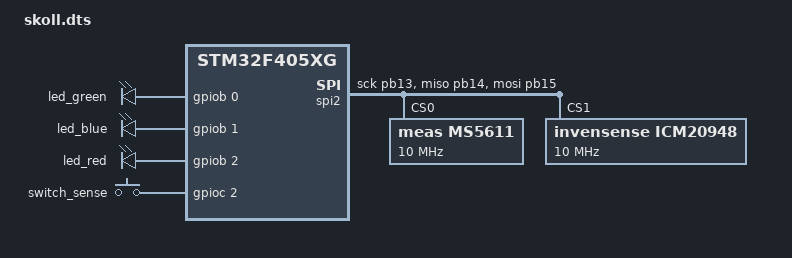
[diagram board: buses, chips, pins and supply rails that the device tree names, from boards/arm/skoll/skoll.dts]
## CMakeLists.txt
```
# SPDX-License-Identifier: Apache-2.0

cmake_minimum_required(VERSION 3.20.0)

set(BOARD_ROOT ${CMAKE_CURRENT_LIST_DIR})
set(BOARD skoll)

list(APPEND EXTRA_ZEPHYR_MODULES
    ${CMAKE_CURRENT_SOURCE_DIR}/ext/modules/ms5611
)

find_package(Zephyr REQUIRED HINTS $ENV{ZEPHYR_BASE})

project(skoll LANGUAGES C)

zephyr_include_directories(
  ${CMAKE_CURRENT_SOURCE_DIR}/src
)

target_sources(app PRIVATE 
    src/main.c
)
```

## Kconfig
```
# CONFIG_[APP_[APP_NAME]_LOG_LEVEL_INF=y
```

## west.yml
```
manifest:
  remotes:
    - name: zephyrproject
      url-base: https://github.com/zephyrproject-rtos

  projects:
    - name: zephyr
      remote: zephyrproject
      revision: v4.2.0
      path: ext/zephyr
      west-commands: scripts/west-commands.yml

    - name: cmsis
      remote: zephyrproject
      revision: 512cc7e895e8491696b61f7ba8066b4a182569b8
      path: ext/zephyr/modules/hal/cmsis
    - name: cmsis_6
      remote: zephyrproject
      repo-path: CMSIS_6
      revision: 06d952b6713a2ca41c9224a62075e4059402a151
      path: ext/zephyr/modules/hal/cmsis_6

    - name: hal_stm32
      remote: zephyrproject
      revision: 1e753266ddfb4b07a8a0b1ec566e9637ea45d5ef
      path: ext/zephyr/modules/hal/stm32

    - name: zscilib
      remote: zephyrproject
      revision: ee3c0c405087e331aad16d167b6e4ec1c3452ba9
      path: ext/modules/zscilib

  self:
    path: .
    
```

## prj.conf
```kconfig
CONFIG_GPIO=y
CONFIG_LOG=y
CONFIG_LOG_MODE_DEFERRED=y
CONFIG_LOG_BUFFER_SIZE=4096

CONFIG_DEBUG=y
CONFIG_DEBUG_OPTIMIZATIONS=y

CONFIG_ISR_STACK_SIZE=4096

CONFIG_CAN=y
CONFIG_SPI=y
CONFIG_SENSOR=y
CONFIG_SHELL=y
CONFIG_SERIAL=y
CONFIG_CONSOLE=y
CONFIG_UART_CONSOLE=n

CONFIG_SYS_CLOCK_HW_CYCLES_PER_SEC=16000000

CONFIG_ZBUS=y
CONFIG_ZBUS_MSG_SUBSCRIBER=y

# I do not like heaps but idk
CONFIG_ZBUS_MSG_SUBSCRIBER_BUF_ALLOC_STATIC=y
CONFIG_ZBUS_MSG_SUBSCRIBER_NET_BUF_POOL_SIZE=32
CONFIG_ZBUS_MSG_SUBSCRIBER_NET_BUF_STATIC_DATA_SIZE=128

CONFIG_CRC=y

CONFIG_CPP=y

CONFIG_REQUIRES_FULL_LIBCPP=y

# Enable USB CDC console
CONFIG_USB_DEVICE_STACK=y
CONFIG_USB_DEVICE_PRODUCT="freyja gcs"
CONFIG_USB_DEVICE_VID=0x6969
CONFIG_USB_DEVICE_PID=0x6969
CONFIG_USB_CDC_ACM=y
CONFIG_USB_DEVICE_INITIALIZE_AT_BOOT=y
CONFIG_USB_CDC_ACM_LOG_LEVEL_DBG=y
```

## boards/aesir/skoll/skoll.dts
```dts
/dts-v1/;

#include <st/f4/stm32f405Xg.dtsi>
#include <st/f4/stm32f405rgtx-pinctrl.dtsi>
#include "skoll.dtsi"
/*
things that we need to define:
PWM: buzzer, servo1, servo2, servo3, servo4 X
boot switch X
gpio: ledG, ledB, ledR, switch X
Oscillator (only Kconfig) X
SPI: MS5611, ICM20948 - add spi settings and icm20948 driver
battery sense X
can X
usb X
programming X

for each of the above I need to add: pinctrl, node (peripheral), setting, status, 
alias, chosen (?)
*/

/ {
    model = "Skoll Active Control System";
    compatible = "aesir,skoll", "st,stm32f405";
    
    chosen{
		zephyr,flash = &flash0;
        zephyr,sram = &sram0;
        zephyr,spi2 = &spi2;
        zephyr,can1 = &can1;
        zephyr,console = &cdc_acm_uart1;
        zephyr,shell-uart = &cdc_acm_uart1;
    };

    aliases{
        spi2 = &spi2;
        can1 = &can1;
    };

    leds{
        compatible = "gpio-leds";

        led_green: led_green{
            gpios = <&gpiob 0 GPIO_ACTIVE_HIGH>;
        };

        led_blue: led_blue{
            gpios = <&gpiob 1 GPIO_ACTIVE_HIGH>;
        };

        led_red: led_red{
            gpios = <&gpiob 2 GPIO_ACTIVE_HIGH>;
        };
    };

    switches{
        compatible = "gpio-keys";

        switch_sense: switch_sense{
            gpios = <&gpioc 2 GPIO_ACTIVE_HIGH>;
        };
    };

    pwm {        
        servo1: servo1 {
            status = "okay";
            pwms = <&pwm1 1 PWM_MSEC(20) PWM_POLARITY_NORMAL>;
        };

        servo2: servo2 {
            status = "okay";
            pwms = <&pwm2 2 PWM_MSEC(20) PWM_POLARITY_NORMAL>;
        };

        servo3: servo3 {
            status = "okay";
            pwms = <&pwm3 3 PWM_MSEC(20) PWM_POLARITY_NORMAL>;
        };

        servo4: servo4 {
            status = "okay";
            pwms = <&pwm4 1 PWM_MSEC(20) PWM_POLARITY_NORMAL>;
        };

        buzzer: buzzer {
            status = "okay";
            pwms = <&pwm5 2 PWM_MSEC(10) PWM_POLARITY_NORMAL>; // will override period in code
        };
    };
};


&spi2{
    status = "okay";
	pinctrl-0 = <&spi2_sck_pb13 &spi2_miso_pb14 &spi2_mosi_pb15>;
	pinctrl-names = "default";

    ms5611: ms5611@0{
        compatible = "meas,ms5611";
        reg = <0>;
        status = "okay";
        cs-gpios = <&gpioa 4 GPIO_ACTIVE_LOW>;
        spi-max-frequency = <10000000>;
        // fix spi settings (look at driver?)
    };

    /*
    icm20948: icm20948@1{
        compatible = "invensense,icm20948"; // fix driver
        reg = <1>;
        status = "okay";
        cs-gpios = <&gpiob 12 GPIO_ACTIVE_LOW>;
        spi-max-frequency = <10000000>;
        // fix spi settings (look at driver?)
    };
    */
};
```

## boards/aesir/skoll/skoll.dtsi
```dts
#include <st/f4/stm32f405Xg.dtsi>
#include <st/f4/stm32f405rgtx-pinctrl.dtsi>

/ {

};

&clk_hse {
    status = "okay";
    clock-frequency = <DT_FREQ_M(16)>;
};

&clk_hsi {
	status = "disabled";
};

&clk_lse {
	status = "disabled";
};

&pll {
    status = "okay";
    clocks = <&clk_hse>;
    div-m = <8>;
    mul-n = <160>;
    div-p = <2>;
};

&rcc {
    compatible = "st,stm32f4-rcc", "st,stm32-rcc";
    status = "okay";
    clock-frequency = <DT_FREQ_M(160)>;  
    ahb-prescaler = <1>; 
	apb1-prescaler = <4>;
	apb2-prescaler = <2>;
};

&adc1 {
    #address-cells = <1>;
    #size-cells = <0>;
    status = "okay";
    st,adc-prescaler = <1>;

    channel@A {
        reg = <10>;
        zephyr,gain = "ADC_GAIN_1";
        zephyr,reference = "ADC_REF_INTERNAL";
        zephyr,acquisition-time = <ADC_ACQ_TIME_DEFAULT>;
        zephyr,resolution = <14>;
        zephyr,oversampling = <4>;
        status = "okay";
    };
};

&timers3{
    status = "okay";
    st,prescaler = <1000>;

    pwm4: pwm4 {
        status = "okay";
        pinctrl-0 = <&tim3_ch1_pa6>;
        pinctrl-names = "default";
        #pwm-cells = <3>;
    };

    pwm5: pwm5 {
        status = "okay";
        pinctrl-0 = <&tim3_ch2_pa7>;
        pinctrl-names = "default";
        #pwm-cells = <3>;
    };

};

&timers5{
    status = "okay";
    st,prescaler = <1000>;

    pwm1: pwm1 {
        status = "okay";
        pinctrl-0 = <&tim5_ch1_pa0>;
        pinctrl-names = "default";
        #pwm-cells = <3>;
    };
    
    pwm2: pwm2 {
        status = "okay";
        pinctrl-0 = <&tim5_ch2_pa1>;
        pinctrl-names = "default";
        #pwm-cells = <3>;
    };

    pwm3: pwm3 {
        status = "okay";
        pinctrl-0 = <&tim5_ch3_pa2>;
        pinctrl-names = "default";
        #pwm-cells = <3>;
    };
};

zephyr_udc0: &usbotg_fs {
	pinctrl-0 = <&usb_otg_fs_dm_pa11 &usb_otg_fs_dp_pa12>;
	pinctrl-names = "default";
	status = "okay";
};

&can1{
    pinctrl-0 = <&can1_rx_pb8 &can1_tx_pb9>;
    pinctrl-names = "default";
    clocks = <&rcc STM32_CLOCK(APB1, 25U)>;
    status = "okay";
};


zephyr_udc0: &usbotg_fs {
	pinctrl-0 = <&usb_otg_fs_dm_pa11 &usb_otg_fs_dp_pa12>;
	pinctrl-names = "default";
	status = "okay";
};

&zephyr_udc0 {
    cdc_acm_uart0: cdc_acm_uart0 {
        compatible = "zephyr,cdc-acm-uart";
    };
	cdc_acm_uart1: cdc_acm_uart1 {
		compatible = "zephyr,cdc-acm-uart";
	};
};
```

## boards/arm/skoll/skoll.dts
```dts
/dts-v1/;

#include <st/f4/stm32f405Xg.dtsi>
#include <st/f4/stm32f405rgtx-pinctrl.dtsi>
#include "skoll.dtsi"
/*
things that we need to define:
PWM: buzzer, servo1, servo2, servo3, servo4 X
boot switch X
gpio: ledG, ledB, ledR, switch X
Oscillator (only Kconfig) X
SPI: MS5611, ICM20948 - add spi settings and icm20948 driver
battery sense X
can X
usb X
programming X

for each of the above I need to add: pinctrl, node (peripheral), setting, status, 
alias, chosen (?)
*/

/ {
    compatible = "aesir,skoll";

    chosen{
        zephyr,spi2 = &spi2;
        zephyr,can1 = &can1;
    };

    aliases{
        spi2 = &spi2;
        can1 = &can1;
    };

    leds{
        compatible = "gpio-leds";

        led_green: led_green{
            gpios = <&gpiob 0 GPIO_ACTIVE_HIGH>;
        };

        led_blue: led_blue{
            gpios = <&gpiob 1 GPIO_ACTIVE_HIGH>;
        };

        led_red: led_red{
            gpios = <&gpiob 2 GPIO_ACTIVE_HIGH>;
        };
    };

    switches{
        compatible = "gpio-keys";

        switch_sense: switch_sense{
            gpios = <&gpioc 2 GPIO_ACTIVE_HIGH>;
        };
    };

    pwm {        
        servo1: servo1 {
            status = "okay";
            pwms = <&pwm1 1 PWM_MSEC(20) PWM_POLARITY_NORMAL>;
        };

        servo2: servo2 {
            status = "okay";
            pwms = <&pwm2 2 PWM_MSEC(20) PWM_POLARITY_NORMAL>;
        };

        servo3: servo3 {
            status = "okay";
            pwms = <&pwm3 3 PWM_MSEC(20) PWM_POLARITY_NORMAL>;
        };

        servo4: servo4 {
            status = "okay";
            pwms = <&pwm4 1 PWM_MSEC(20) PWM_POLARITY_NORMAL>;
        };

        buzzer: buzzer {
            status = "okay";
            pwms = <&pwm5 2 PWM_MSEC(10) PWM_POLARITY_NORMAL>; // will override period in code
        };
    };
};


&spi2{
    status = "okay";
	pinctrl-0 = <&spi2_sck_pb13 &spi2_miso_pb14 &spi2_mosi_pb15>;
	pinctrl-names = "default";

    ms5611: ms5611@0{
        compatible = "meas,ms5611";
        reg = <0>;
        status = "okay";
        cs-gpios = <&gpioa 4 GPIO_ACTIVE_LOW>;
        spi-max-frequency = <10000000>;
        // fix spi settings (look at driver?)
    };

    icm20948: icm20948@1{
        compatible = "invensense,icm20948"; // fix driver
        reg = <1>;
        status = "okay";
        cs-gpios = <&gpiob 12 GPIO_ACTIVE_LOW>;
        spi-max-frequency = <10000000>;
        // fix spi settings (look at driver?)
    };
};
```

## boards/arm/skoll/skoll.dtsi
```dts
#include <st/f4/stm32f405Xg.dtsi>
#include <st/f4/stm32f405rgtx-pinctrl.dtsi>

/ {

};

&clk_hse {
    status = "okay";
    clock-frequency = <DT_FREQ_M(16)>;
};

&clk_hsi {
	status = "okay";
};

&clk_lse {
	status = "disabled";
};

&pll {
    status = "okay";
    clocks = <&clk_hse>;
    div-m = <8>;
    mul-n = <160>;
    div-p = <2>;
};

&rcc {
    status = "okay";
    clock-frequency = <DT_FREQ_M(160)>;  
    ahb-prescaler = <1>; 
	apb1-prescaler = <4>;
	apb2-prescaler = <2>;
};

&adc1 {
    #address-cells = <1>;
    #size-cells = <0>;
    status = "okay";
    st,adc-prescaler = <1>;

    channel@A {
        reg = <10>;
        zephyr,gain = "ADC_GAIN_1";
        zephyr,reference = "ADC_REF_INTERNAL";
        zephyr,acquisition-time = <ADC_ACQ_TIME_DEFAULT>;
        zephyr,resolution = <14>;
        zephyr,oversampling = <4>;
        status = "okay";
    };
};

&timers3{
    status = "okay";
    st,prescaler = <1000>;

    pwm4: pwm4 {
        status = "okay";
        pinctrl-0 = <&tim3_ch1_pa6>;
        pinctrl-names = "default";
        #pwm-cells = <3>;
    };

    pwm5: pwm5 {
        status = "okay";
        pinctrl-0 = <&tim3_ch2_pa7>;
        pinctrl-names = "default";
        #pwm-cells = <3>;
    };

};

&timers5{
    status = "okay";
    st,prescaler = <1000>;

    pwm1: pwm1 {
        status = "okay";
        pinctrl-0 = <&tim5_ch1_pa0>;
        pinctrl-names = "default";
        #pwm-cells = <3>;
    };
    
    pwm2: pwm2 {
        status = "okay";
        pinctrl-0 = <&tim5_ch2_pa1>;
        pinctrl-names = "default";
        #pwm-cells = <3>;
    };

    pwm3: pwm3 {
        status = "okay";
        pinctrl-0 = <&tim5_ch3_pa2>;
        pinctrl-names = "default";
        #pwm-cells = <3>;
    };
};

zephyr_udc0: &usbotg_fs {
	pinctrl-0 = <&usb_otg_fs_dm_pa11 &usb_otg_fs_dp_pa12>;
	pinctrl-names = "default";
	status = "okay";
};

&can1{
    pinctrl-0 = <&can1_rx_pb8 &can1_tx_pb9>;
    pinctrl-names = "default";
    clocks = <&rcc STM32_CLOCK(APB1, 25U)>;
    status = "okay";
};
```

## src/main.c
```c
#include <zephyr/kernel.h>
#include <zephyr/logging/log.h>

LOG_MODULE_REGISTER(main);

int main()
{
	LOG_INF("Hello from native_posix!");
	while (1) {
		LOG_INF("Run");
		k_msleep(10);
	}
	return 0;
}
```
